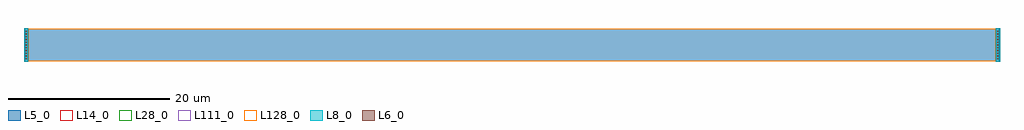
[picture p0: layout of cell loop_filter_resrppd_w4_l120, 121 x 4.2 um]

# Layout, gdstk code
import gdstk
lib = gdstk.Library(unit=1e-6, precision=1e-09)
def R(c, l, rs):  # rectangles x0, y0, x1, y1
    for r in rs: c.add(gdstk.rectangle(r[:2], r[2:], *l))
def A(c, l, x, y, w, h, nx, ny, dx, dy):  # array of equal rectangles
    R(c, l, [(x+i*dx, y+j*dy, x+i*dx+w, y+j*dy+h) for i in range(nx) for j in range(ny)])
L5_0 = (5, 0)
L6_0 = (6, 0)
L8_0 = (8, 0)
L14_0 = (14, 0)
L28_0 = (28, 0)
L111_0 = (111, 0)
L128_0 = (128, 0)

loop_filter_resrppd_w4_l = lib.new_cell('loop_filter_resrppd_w4_l120')
R(loop_filter_resrppd_w4_l, L5_0, [(0.1,0.1,0.5,4.3), (120.5,0.1,120.9,4.3), (0.5,0.2,120.5,4.2)])
A(loop_filter_resrppd_w4_l, L6_0, 0.2, 0.42, 0.16, 0.16, 1, 11, 0, 0.34)
A(loop_filter_resrppd_w4_l, L6_0, 120.64, 0.42, 0.16, 0.16, 1, 11, 0, 0.34)
R(loop_filter_resrppd_w4_l, L8_0, [(0,0.1,0.5,4.3), (120.5,0.1,121,4.3)])
R(loop_filter_resrppd_w4_l, L14_0, [(0.5,0.2,120.5,4.2)])
R(loop_filter_resrppd_w4_l, L28_0, [(0.5,0.2,120.5,4.2)])
R(loop_filter_resrppd_w4_l, L111_0, [(0.5,0.2,120.5,4.2)])
R(loop_filter_resrppd_w4_l, L128_0, [(0.5,0.2,120.5,4.2)])

lib.write_gds('loop_filter_resrppd_w4_l120.gds')
